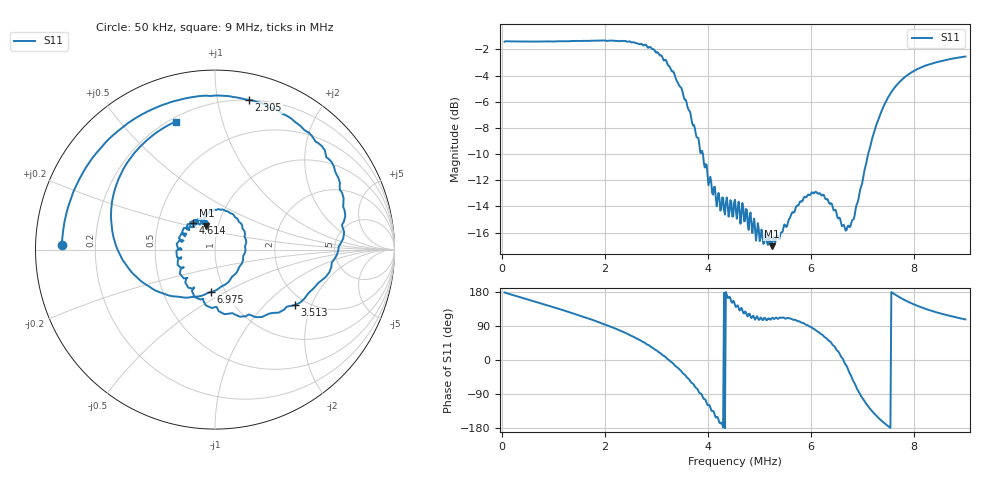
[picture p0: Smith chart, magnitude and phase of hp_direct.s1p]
# Hz S RI R 50
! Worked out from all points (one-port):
!   505 points, 50 kHz to 9 MHz, reference 50 ohm
!   lowest |S11| = -17.0 dB at 5.235 MHz (marker M1), VSWR 1.33, Z = 44 + j11.9 ohm
!   |S11| at or under -10 dB: 3.902 MHz to 7.111 MHz (3.209 MHz wide, 58.3 % of centre)
!   S11 on the Smith chart (normalised r, x): 50 kHz: 0.08, +0.02; 2.305 MHz: 0.20, +1.23; 3.513 MHz: 1.74, -1.53; 4.614 MHz: 0.75, +0.23; 6.975 MHz: 0.85, -0.43; 9 MHz: 0.22, +0.71
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50000  -0.8499 0.028
600400  -0.776 0.351
1186400  -0.5641 0.6407
1807900  -0.1992 0.8338
2305057  0.1902 0.8345
2677957  0.5051 0.6612
2997657  0.6958 0.3337
3210657  0.6998 0.034
3423757  0.5459 -0.2197
3512557  0.4429 -0.3101
3778914  0.0971 -0.3542
4009714  -0.1171 -0.2101
4258314  -0.1896 -0.0517
4542514  -0.1469 0.1238
4613514  -0.1247 0.1462
5235014  -0.0475 0.1325
5661171  -0.0523 0.1818
5980771  0.00728 0.2204
6264871  0.1071 0.1889
6531271  0.1661 0.0678
6779871  0.1281 -0.114
6975171  -0.0245 -0.2366
7206071  -0.2772 -0.2486
7454628  -0.4934 -0.0877
7649928  -0.5695 0.087
7898528  -0.5693 0.2903
8395728  -0.4297 0.5601
8999528  -0.2198 0.7132
